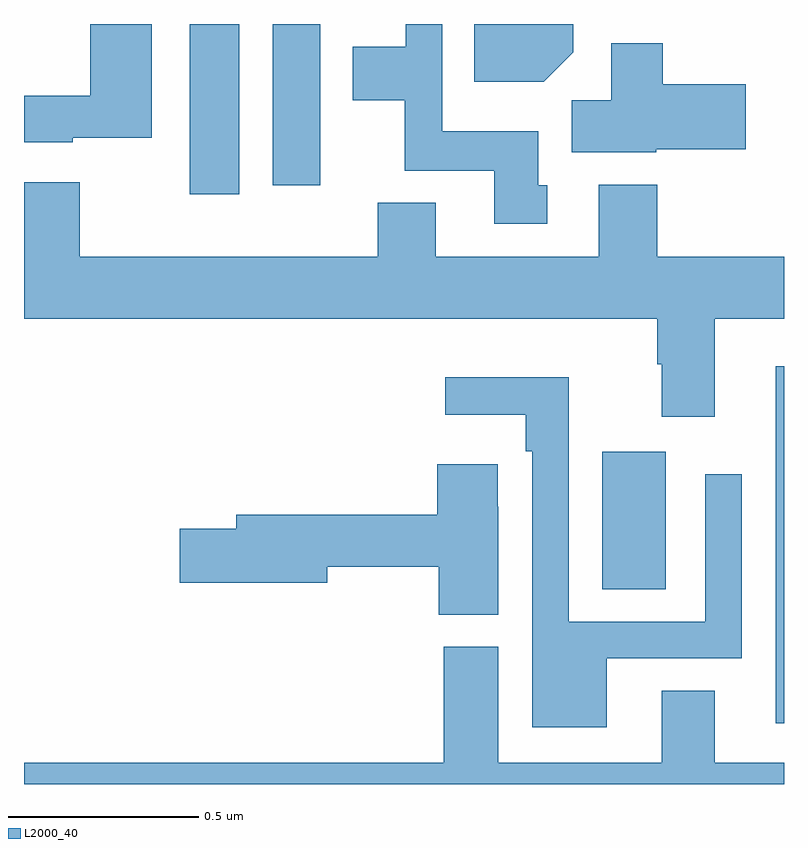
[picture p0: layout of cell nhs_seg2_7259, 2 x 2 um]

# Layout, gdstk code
import gdstk
lib = gdstk.Library(unit=1e-6, precision=1e-09)
def R(c, l, rs):  # rectangles x0, y0, x1, y1
    for r in rs: c.add(gdstk.rectangle(r[:2], r[2:], *l))
def P(c, l, *ps):  # polygons
    for p in ps: c.add(gdstk.Polygon(p, *l))
L2000_40 = (2000, 40)

nhs_seg2_7259 = lib.new_cell('nhs_seg2_7259')
R(nhs_seg2_7259, L2000_40, [(203.978,591.96,204,592.9), (203.522,592.312,203.689,592.675), (202.436,593.352,202.567,593.8), (202.655,593.376,202.78,593.8)])
P(nhs_seg2_7259, L2000_40, [(203.446,593.726),(203.446,593.8),(203.185,593.8),(203.185,593.648),(203.368,593.648)],
  [(203.377,593.376),(203.353,593.376),(203.353,593.518),(203.1,593.518),(203.1,593.8),(203.004,593.8),(203.004,593.74),(202.865,593.74),(202.865,593.6),(203.002,593.6),(203.002,593.414),(203.237,593.414),(203.237,593.274),(203.377,593.274)],
  [(202.128,593.501),(202.336,593.501),(202.336,593.8),(202.174,593.8),(202.174,593.611),(202,593.611),(202,593.489),(202.128,593.489)],
  [(203.664,593.471),(203.899,593.471),(203.899,593.642),(203.681,593.642),(203.681,593.749),(203.546,593.749),(203.546,593.6),(203.441,593.6),(203.441,593.462),(203.664,593.462)],
  [(203.818,593.024),(204,593.024),(204,593.188),(203.666,593.188),(203.666,593.377),(203.513,593.377),(203.513,593.188),(203.083,593.188),(203.083,593.329),(202.931,593.329),(202.931,593.188),(202.147,593.188),(202.147,593.383),(202,593.383),(202,593.024),(203.666,593.024),(203.666,592.904),(203.678,592.904),(203.678,592.767),(203.818,592.767)],
  [(203.533,592.131),(203.889,592.131),(203.889,592.615),(203.793,592.615),(203.793,592.227),(203.433,592.227),(203.433,592.87),(203.109,592.87),(203.109,592.772),(203.321,592.772),(203.321,592.676),(203.337,592.676),(203.337,591.95),(203.533,591.95)],
  [(203.248,592.529),(203.247,592.529),(203.247,592.642),(203.087,592.642),(203.087,592.508),(202.559,592.508),(202.559,592.472),(202.41,592.472),(202.41,592.33),(202.798,592.33),(202.798,592.372),(203.092,592.372),(203.092,592.246),(203.248,592.246)],
  [(204,591.856),(203.818,591.856),(203.818,592.046),(203.678,592.046),(203.678,591.856),(203.248,591.856),(203.248,592.161),(203.105,592.161),(203.105,591.856),(202,591.856),(202,591.8),(204,591.8)])

lib.write_gds('nhs_seg2_7259.gds')
